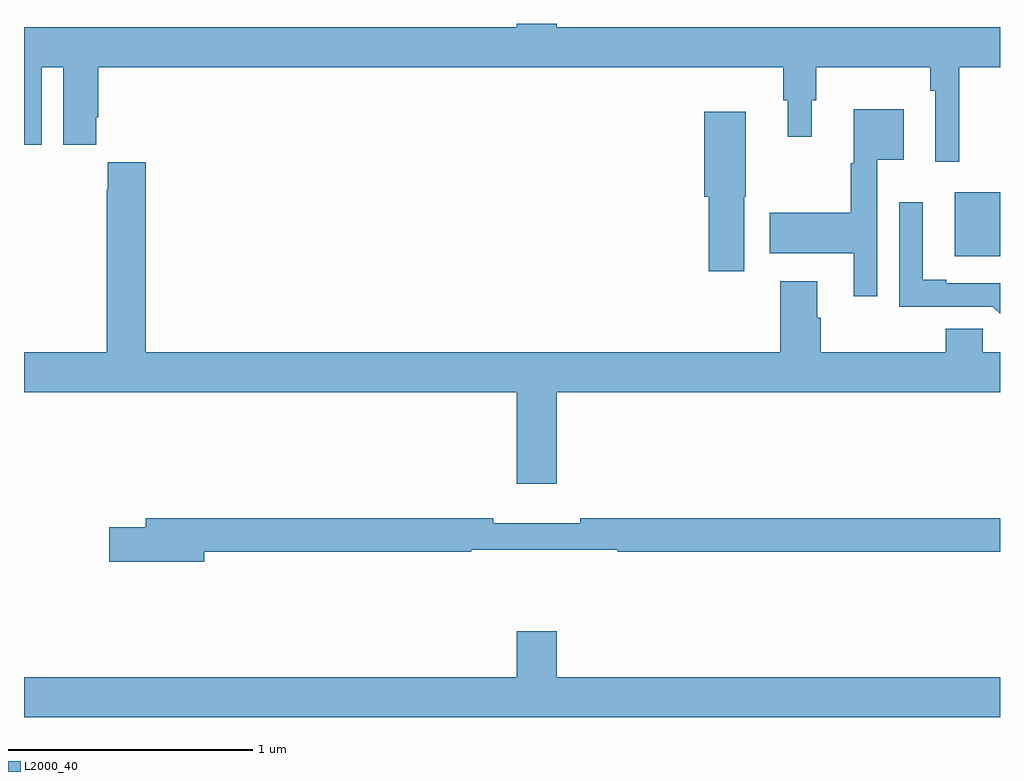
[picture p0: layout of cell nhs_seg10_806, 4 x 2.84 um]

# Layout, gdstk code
import gdstk
lib = gdstk.Library(unit=1e-6, precision=1e-09)
def R(c, l, rs):  # rectangles x0, y0, x1, y1
    for r in rs: c.add(gdstk.rectangle(r[:2], r[2:], *l))
def P(c, l, *ps):  # polygons
    for p in ps: c.add(gdstk.Polygon(p, *l))
L2000_40 = (2000, 40)

nhs_seg10_806 = lib.new_cell('nhs_seg10_806')
R(nhs_seg10_806, L2000_40, [(154.814,1295.546,155,1295.809)])
P(nhs_seg10_806, L2000_40, [(154.832,1296.32),(155,1296.32),(155,1296.484),(153.184,1296.484),(153.184,1296.5),(153.02,1296.5),(153.02,1296.484),(151,1296.484),(151,1296.003),(151.072,1296.003),(151.072,1296.32),(151.16,1296.32),(151.16,1296.003),(151.297,1296.003),(151.297,1296.115),(151.304,1296.115),(151.304,1296.32),(154.111,1296.32),(154.111,1296.186),(154.13,1296.186),(154.13,1296.036),(154.228,1296.036),(154.228,1296.186),(154.247,1296.186),(154.247,1296.32),(154.714,1296.32),(154.714,1296.224),(154.734,1296.224),(154.734,1295.934),(154.832,1295.934)],
  [(154.497,1295.942),(154.606,1295.942),(154.606,1296.148),(154.4,1296.148),(154.4,1295.928),(154.389,1295.928),(154.389,1295.724),(154.056,1295.724),(154.056,1295.558),(154.4,1295.558),(154.4,1295.382),(154.497,1295.382)],
  [(153.952,1295.79),(153.958,1295.79),(153.958,1296.139),(153.788,1296.139),(153.788,1295.79),(153.806,1295.79),(153.806,1295.484),(153.952,1295.484)],
  [(153.184,1294.988),(155,1294.988),(155,1295.152),(154.929,1295.152),(154.929,1295.25),(154.778,1295.25),(154.778,1295.152),(154.265,1295.152),(154.265,1295.294),(154.252,1295.294),(154.252,1295.443),(154.1,1295.443),(154.1,1295.152),(151.499,1295.152),(151.499,1295.932),(151.343,1295.932),(151.343,1295.819),(151.339,1295.819),(151.339,1295.152),(151,1295.152),(151,1294.988),(153.02,1294.988),(153.02,1294.614),(153.184,1294.614)],
  [(155,1295.436),(154.78,1295.436),(154.78,1295.449),(154.684,1295.449),(154.684,1295.767),(154.587,1295.767),(154.587,1295.34),(154.971,1295.34),(155,1295.311)],
  [(151.738,1294.336),(152.834,1294.336),(152.834,1294.344),(153.434,1294.344),(153.434,1294.336),(155,1294.336),(155,1294.472),(153.28,1294.472),(153.28,1294.453),(152.924,1294.453),(152.924,1294.472),(151.499,1294.472),(151.499,1294.436),(151.35,1294.436),(151.35,1294.294),(151.738,1294.294)],
  [(155,1293.82),(153.184,1293.82),(153.184,1294.009),(153.02,1294.009),(153.02,1293.82),(151,1293.82),(151,1293.656),(155,1293.656)])

lib.write_gds('nhs_seg10_806.gds')
